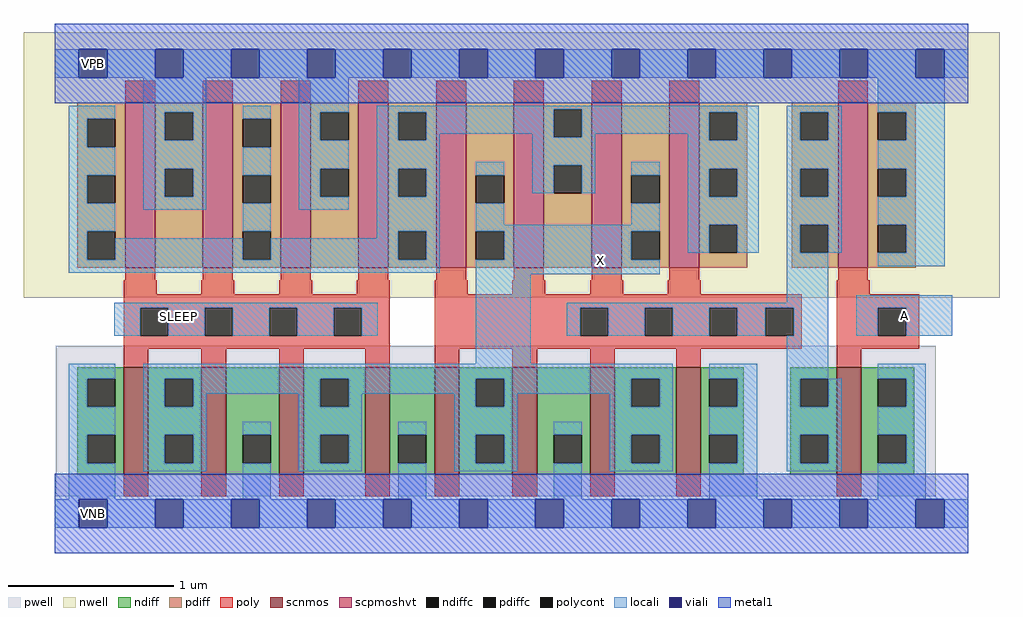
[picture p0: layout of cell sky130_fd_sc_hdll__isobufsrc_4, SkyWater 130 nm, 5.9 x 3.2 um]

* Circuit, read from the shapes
.subckt sky130_fd_sc_hdll__isobufsrc_4 A SLEEP VGND VNB VPB VPWR X
XM1 X SLEEP VGND VNB sky130_fd_pr__nfet_01v8 w=0.65 l=0.15 m=4
XM2 X n1 VGND VNB sky130_fd_pr__nfet_01v8 w=0.65 l=0.15 m=4
XM3 VGND A n1 VNB sky130_fd_pr__nfet_01v8 w=0.65 l=0.15
XM4 VPWR SLEEP n2 VPB sky130_fd_pr__pfet_01v8_hvt w=1 l=0.18 m=4
XM5 X n1 n2 VPB sky130_fd_pr__pfet_01v8_hvt w=1 l=0.18 m=4
XM6 VPWR A n1 VPB sky130_fd_pr__pfet_01v8_hvt w=1 l=0.18
.ends

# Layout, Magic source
magic
tech sky130A
magscale 1 2
<< nwell >>
rect -38 261 1142 582
<< pwell >>
rect 1 21 1065 203
rect 30 -17 64 21
<< scnmos >>
rect 83 47 113 177
rect 177 47 207 177
rect 271 47 301 177
rect 375 47 405 177
rect 459 47 489 177
rect 553 47 583 177
rect 647 47 677 177
rect 751 47 781 177
rect 945 47 975 177
<< scpmoshvt >>
rect 85 297 121 497
rect 179 297 215 497
rect 273 297 309 497
rect 367 297 403 497
rect 461 297 497 497
rect 555 297 591 497
rect 649 297 685 497
rect 743 297 779 497
rect 947 297 983 497
<< ndiff >>
rect 27 163 83 177
rect 27 129 39 163
rect 73 129 83 163
rect 27 95 83 129
rect 27 61 39 95
rect 73 61 83 95
rect 27 47 83 61
rect 113 163 177 177
rect 113 129 133 163
rect 167 129 177 163
rect 113 95 177 129
rect 113 61 133 95
rect 167 61 177 95
rect 113 47 177 61
rect 207 95 271 177
rect 207 61 227 95
rect 261 61 271 95
rect 207 47 271 61
rect 301 163 375 177
rect 301 129 321 163
rect 355 129 375 163
rect 301 95 375 129
rect 301 61 321 95
rect 355 61 375 95
rect 301 47 375 61
rect 405 95 459 177
rect 405 61 415 95
rect 449 61 459 95
rect 405 47 459 61
rect 489 163 553 177
rect 489 129 509 163
rect 543 129 553 163
rect 489 95 553 129
rect 489 61 509 95
rect 543 61 553 95
rect 489 47 553 61
rect 583 95 647 177
rect 583 61 603 95
rect 637 61 647 95
rect 583 47 647 61
rect 677 163 751 177
rect 677 129 697 163
rect 731 129 751 163
rect 677 95 751 129
rect 677 61 697 95
rect 731 61 751 95
rect 677 47 751 61
rect 781 163 833 177
rect 781 129 791 163
rect 825 129 833 163
rect 781 95 833 129
rect 781 61 791 95
rect 825 61 833 95
rect 781 47 833 61
rect 889 163 945 177
rect 889 129 901 163
rect 935 129 945 163
rect 889 95 945 129
rect 889 61 901 95
rect 935 61 945 95
rect 889 47 945 61
rect 975 163 1039 177
rect 975 129 995 163
rect 1029 129 1039 163
rect 975 95 1039 129
rect 975 61 995 95
rect 1029 61 1039 95
rect 975 47 1039 61
<< pdiff >>
rect 27 477 85 497
rect 27 443 39 477
rect 73 443 85 477
rect 27 409 85 443
rect 27 375 39 409
rect 73 375 85 409
rect 27 341 85 375
rect 27 307 39 341
rect 73 307 85 341
rect 27 297 85 307
rect 121 485 179 497
rect 121 451 133 485
rect 167 451 179 485
rect 121 417 179 451
rect 121 383 133 417
rect 167 383 179 417
rect 121 297 179 383
rect 215 477 273 497
rect 215 443 227 477
rect 261 443 273 477
rect 215 409 273 443
rect 215 375 227 409
rect 261 375 273 409
rect 215 341 273 375
rect 215 307 227 341
rect 261 307 273 341
rect 215 297 273 307
rect 309 485 367 497
rect 309 451 321 485
rect 355 451 367 485
rect 309 417 367 451
rect 309 383 321 417
rect 355 383 367 417
rect 309 297 367 383
rect 403 485 461 497
rect 403 451 415 485
rect 449 451 461 485
rect 403 417 461 451
rect 403 383 415 417
rect 449 383 461 417
rect 403 341 461 383
rect 403 307 415 341
rect 449 307 461 341
rect 403 297 461 307
rect 497 409 555 497
rect 497 375 509 409
rect 543 375 555 409
rect 497 341 555 375
rect 497 307 509 341
rect 543 307 555 341
rect 497 297 555 307
rect 591 489 649 497
rect 591 455 603 489
rect 637 455 649 489
rect 591 421 649 455
rect 591 387 603 421
rect 637 387 649 421
rect 591 297 649 387
rect 685 409 743 497
rect 685 375 697 409
rect 731 375 743 409
rect 685 341 743 375
rect 685 307 697 341
rect 731 307 743 341
rect 685 297 743 307
rect 779 485 837 497
rect 779 451 791 485
rect 825 451 837 485
rect 779 417 837 451
rect 779 383 791 417
rect 825 383 837 417
rect 779 349 837 383
rect 779 315 791 349
rect 825 315 837 349
rect 779 297 837 315
rect 891 485 947 497
rect 891 451 901 485
rect 935 451 947 485
rect 891 417 947 451
rect 891 383 901 417
rect 935 383 947 417
rect 891 349 947 383
rect 891 315 901 349
rect 935 315 947 349
rect 891 297 947 315
rect 983 485 1041 497
rect 983 451 995 485
rect 1029 451 1041 485
rect 983 417 1041 451
rect 983 383 995 417
rect 1029 383 1041 417
rect 983 349 1041 383
rect 983 315 995 349
rect 1029 315 1041 349
rect 983 297 1041 315
<< ndiffc >>
rect 39 129 73 163
rect 39 61 73 95
rect 133 129 167 163
rect 133 61 167 95
rect 227 61 261 95
rect 321 129 355 163
rect 321 61 355 95
rect 415 61 449 95
rect 509 129 543 163
rect 509 61 543 95
rect 603 61 637 95
rect 697 129 731 163
rect 697 61 731 95
rect 791 129 825 163
rect 791 61 825 95
rect 901 129 935 163
rect 901 61 935 95
rect 995 129 1029 163
rect 995 61 1029 95
<< pdiffc >>
rect 39 443 73 477
rect 39 375 73 409
rect 39 307 73 341
rect 133 451 167 485
rect 133 383 167 417
rect 227 443 261 477
rect 227 375 261 409
rect 227 307 261 341
rect 321 451 355 485
rect 321 383 355 417
rect 415 451 449 485
rect 415 383 449 417
rect 415 307 449 341
rect 509 375 543 409
rect 509 307 543 341
rect 603 455 637 489
rect 603 387 637 421
rect 697 375 731 409
rect 697 307 731 341
rect 791 451 825 485
rect 791 383 825 417
rect 791 315 825 349
rect 901 451 935 485
rect 901 383 935 417
rect 901 315 935 349
rect 995 451 1029 485
rect 995 383 1029 417
rect 995 315 1029 349
<< poly >>
rect 85 497 121 523
rect 179 497 215 523
rect 273 497 309 523
rect 367 497 403 523
rect 461 497 497 523
rect 555 497 591 523
rect 649 497 685 523
rect 743 497 779 523
rect 947 497 983 523
rect 85 282 121 297
rect 179 282 215 297
rect 273 282 309 297
rect 367 282 403 297
rect 461 282 497 297
rect 555 282 591 297
rect 649 282 685 297
rect 743 282 779 297
rect 947 282 983 297
rect 83 265 123 282
rect 177 265 217 282
rect 271 265 311 282
rect 365 265 405 282
rect 83 249 405 265
rect 83 215 103 249
rect 137 215 181 249
rect 215 215 259 249
rect 293 215 337 249
rect 371 215 405 249
rect 83 199 405 215
rect 83 177 113 199
rect 177 177 207 199
rect 271 177 301 199
rect 375 177 405 199
rect 459 265 499 282
rect 553 265 593 282
rect 647 265 687 282
rect 741 265 781 282
rect 945 265 985 282
rect 459 249 903 265
rect 459 215 635 249
rect 669 215 713 249
rect 747 215 791 249
rect 825 215 859 249
rect 893 215 903 249
rect 459 199 903 215
rect 945 249 1045 265
rect 945 215 995 249
rect 1029 215 1045 249
rect 945 199 1045 215
rect 459 177 489 199
rect 553 177 583 199
rect 647 177 677 199
rect 751 177 781 199
rect 945 177 975 199
rect 83 21 113 47
rect 177 21 207 47
rect 271 21 301 47
rect 375 21 405 47
rect 459 21 489 47
rect 553 21 583 47
rect 647 21 677 47
rect 751 21 781 47
rect 945 21 975 47
<< polycont >>
rect 103 215 137 249
rect 181 215 215 249
rect 259 215 293 249
rect 337 215 371 249
rect 635 215 669 249
rect 713 215 747 249
rect 791 215 825 249
rect 859 215 893 249
rect 995 215 1029 249
<< locali >>
rect 0 527 29 561
rect 63 527 121 561
rect 155 527 213 561
rect 247 527 305 561
rect 339 527 397 561
rect 431 527 489 561
rect 523 527 581 561
rect 615 527 673 561
rect 707 527 765 561
rect 799 527 857 561
rect 891 527 949 561
rect 983 527 1041 561
rect 1075 527 1104 561
rect 17 477 73 493
rect 17 443 39 477
rect 17 409 73 443
rect 17 375 39 409
rect 17 341 73 375
rect 107 485 183 527
rect 107 451 133 485
rect 167 451 183 485
rect 107 417 183 451
rect 107 383 133 417
rect 167 383 183 417
rect 107 367 183 383
rect 227 477 261 493
rect 227 409 261 443
rect 17 307 39 341
rect 227 341 261 375
rect 295 485 355 527
rect 295 451 321 485
rect 295 417 355 451
rect 295 383 321 417
rect 295 367 355 383
rect 389 489 851 493
rect 389 485 603 489
rect 389 451 415 485
rect 449 459 603 485
rect 449 451 465 459
rect 389 417 465 451
rect 577 455 603 459
rect 637 485 851 489
rect 637 459 791 485
rect 637 455 653 459
rect 389 383 415 417
rect 449 383 465 417
rect 73 307 227 333
rect 389 341 465 383
rect 389 333 415 341
rect 261 307 415 333
rect 449 307 465 341
rect 17 291 465 307
rect 509 409 543 425
rect 577 421 653 455
rect 765 451 791 459
rect 825 451 851 485
rect 577 387 603 421
rect 637 387 653 421
rect 697 409 731 425
rect 509 349 543 375
rect 697 349 731 375
rect 509 341 731 349
rect 543 307 697 341
rect 765 417 851 451
rect 765 383 791 417
rect 825 383 851 417
rect 765 349 851 383
rect 765 315 791 349
rect 825 315 851 349
rect 885 485 951 493
rect 885 451 901 485
rect 935 451 951 485
rect 885 417 951 451
rect 885 383 901 417
rect 935 383 951 417
rect 885 349 951 383
rect 885 315 901 349
rect 935 315 951 349
rect 995 485 1076 527
rect 1029 451 1076 485
rect 995 417 1076 451
rect 1029 383 1076 417
rect 995 349 1076 383
rect 1029 315 1076 349
rect 509 289 731 307
rect 72 249 390 255
rect 72 215 103 249
rect 137 215 181 249
rect 215 215 259 249
rect 293 215 337 249
rect 371 215 390 249
rect 509 181 575 289
rect 885 255 935 315
rect 995 299 1076 315
rect 619 249 935 255
rect 619 215 635 249
rect 669 215 713 249
rect 747 215 791 249
rect 825 215 859 249
rect 893 215 935 249
rect 969 249 1085 264
rect 969 215 995 249
rect 1029 215 1085 249
rect 17 163 73 181
rect 17 129 39 163
rect 17 95 73 129
rect 17 61 39 95
rect 17 17 73 61
rect 107 163 747 181
rect 107 129 133 163
rect 167 145 321 163
rect 167 129 183 145
rect 107 95 183 129
rect 295 129 321 145
rect 355 145 509 163
rect 355 129 371 145
rect 107 61 133 95
rect 167 61 183 95
rect 107 51 183 61
rect 227 95 261 111
rect 227 17 261 61
rect 295 95 371 129
rect 483 129 509 145
rect 543 145 697 163
rect 543 129 559 145
rect 295 61 321 95
rect 355 61 371 95
rect 295 51 371 61
rect 415 95 449 111
rect 415 17 449 61
rect 483 95 559 129
rect 671 129 697 145
rect 731 129 747 163
rect 483 61 509 95
rect 543 61 559 95
rect 483 51 559 61
rect 603 95 637 111
rect 603 17 637 61
rect 671 95 747 129
rect 671 61 697 95
rect 731 61 747 95
rect 671 51 747 61
rect 791 163 849 181
rect 825 129 849 163
rect 791 95 849 129
rect 825 61 849 95
rect 791 17 849 61
rect 885 163 935 215
rect 995 163 1053 181
rect 885 129 901 163
rect 935 129 951 163
rect 885 95 951 129
rect 885 61 901 95
rect 935 61 951 95
rect 885 51 951 61
rect 1029 129 1053 163
rect 995 95 1053 129
rect 1029 61 1053 95
rect 995 17 1053 61
rect 0 -17 29 17
rect 63 -17 121 17
rect 155 -17 213 17
rect 247 -17 305 17
rect 339 -17 397 17
rect 431 -17 489 17
rect 523 -17 581 17
rect 615 -17 673 17
rect 707 -17 765 17
rect 799 -17 857 17
rect 891 -17 949 17
rect 983 -17 1041 17
rect 1075 -17 1104 17
<< viali >>
rect 29 527 63 561
rect 121 527 155 561
rect 213 527 247 561
rect 305 527 339 561
rect 397 527 431 561
rect 489 527 523 561
rect 581 527 615 561
rect 673 527 707 561
rect 765 527 799 561
rect 857 527 891 561
rect 949 527 983 561
rect 1041 527 1075 561
rect 29 -17 63 17
rect 121 -17 155 17
rect 213 -17 247 17
rect 305 -17 339 17
rect 397 -17 431 17
rect 489 -17 523 17
rect 581 -17 615 17
rect 673 -17 707 17
rect 765 -17 799 17
rect 857 -17 891 17
rect 949 -17 983 17
rect 1041 -17 1075 17
<< metal1 >>
rect 0 561 1104 592
rect 0 527 29 561
rect 63 527 121 561
rect 155 527 213 561
rect 247 527 305 561
rect 339 527 397 561
rect 431 527 489 561
rect 523 527 581 561
rect 615 527 673 561
rect 707 527 765 561
rect 799 527 857 561
rect 891 527 949 561
rect 983 527 1041 561
rect 1075 527 1104 561
rect 0 496 1104 527
rect 0 17 1104 48
rect 0 -17 29 17
rect 63 -17 121 17
rect 155 -17 213 17
rect 247 -17 305 17
rect 339 -17 397 17
rect 431 -17 489 17
rect 523 -17 581 17
rect 615 -17 673 17
rect 707 -17 765 17
rect 799 -17 857 17
rect 891 -17 949 17
rect 983 -17 1041 17
rect 1075 -17 1104 17
rect 0 -48 1104 -17
<< labels >>
flabel locali s 969 215 1085 264 0 FreeSans 400 0 0 0 A
port 1 nsew signal input
flabel locali s 642 289 676 323 0 FreeSans 400 0 0 0 X
port 7 nsew signal output
flabel locali s 132 221 166 255 0 FreeSans 200 0 0 0 SLEEP
port 2 nsew signal input
flabel pwell s 30 -17 64 17 0 FreeSans 200 0 0 0 VNB
port 4 nsew ground bidirectional
flabel nwell s 30 527 64 561 0 FreeSans 200 0 0 0 VPB
port 5 nsew power bidirectional
flabel metal1 s 30 -17 64 17 0 FreeSans 200 0 0 0 VGND
port 3 nsew ground bidirectional
flabel metal1 s 30 527 64 561 0 FreeSans 200 0 0 0 VPWR
port 6 nsew power bidirectional
rlabel comment s 0 0 0 0 4 sky130_fd_sc_hdll__lpflow_isobufsrc_4
<< properties >>
string LEFsite unithd
string LEFclass CORE
string FIXED_BBOX 0 0 1104 544
string GDS_FILE $PDKPATH/libs.ref/sky130_fd_sc_hdll/gds/sky130_fd_sc_hdll.gds
string LEFsymmetry X Y R90
string GDS_END 98692
string GDS_START 89706
string LEFproperties maskLayoutSubType "abstract" prCellType "standard" originalViewName "layout"
<< end >>
